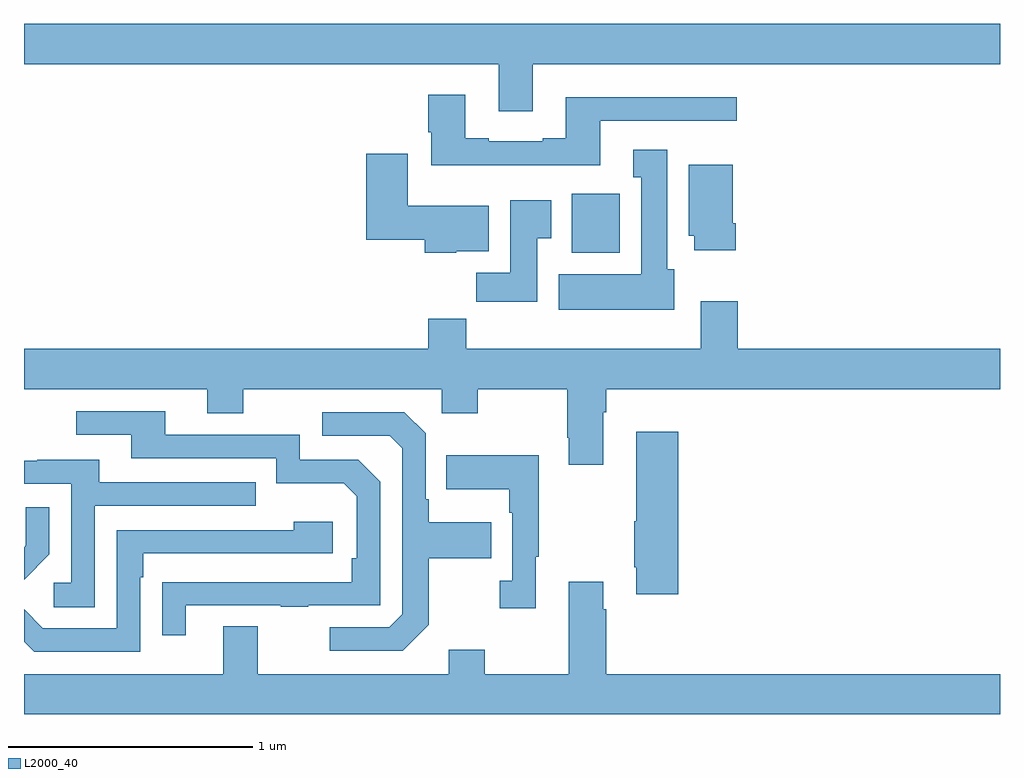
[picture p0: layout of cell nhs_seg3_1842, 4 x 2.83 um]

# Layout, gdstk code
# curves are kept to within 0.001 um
import gdstk
lib = gdstk.Library(unit=1e-6, precision=1e-09)
def R(c, l, rs):  # rectangles x0, y0, x1, y1
    for r in rs: c.add(gdstk.rectangle(r[:2], r[2:], *l))
def P(c, l, *ps):  # polygons
    for p in ps: c.add(gdstk.Polygon(p, *l))
L2000_40 = (2000, 40)

nhs_seg3_1842 = lib.new_cell('nhs_seg3_1842')
R(nhs_seg3_1842, L2000_40, [(207.245,745.43,207.442,745.672)])
P(nhs_seg3_1842, L2000_40, [(207.085,746.204),(209,746.204),(209,746.368),(205,746.368),(205,746.204),(206.945,746.204),(206.945,746.01),(207.085,746.01)],
  [(207.361,745.971),(207.922,745.971),(207.922,746.068),(207.221,746.068),(207.221,745.9),(207.125,745.9),(207.125,745.887),(206.905,745.887),(206.905,745.9),(206.809,745.9),(206.809,746.077),(206.657,746.077),(206.657,745.924),(206.669,745.924),(206.669,745.79),(207.361,745.79)],
  [(207.664,745.362),(207.637,745.362),(207.637,745.852),(207.497,745.852),(207.497,745.739),(207.53,745.739),(207.53,745.342),(207.191,745.342),(207.191,745.196),(207.664,745.196)],
  [(206.772,745.436),(206.905,745.436),(206.905,745.624),(206.572,745.624),(206.572,745.837),(206.402,745.837),(206.402,745.484),(206.642,745.484),(206.642,745.43),(206.772,745.43)],
  [(207.917,745.552),(207.904,745.552),(207.904,745.792),(207.725,745.792),(207.725,745.5),(207.746,745.5),(207.746,745.44),(207.917,745.44)],
  [(207.103,745.489),(207.16,745.489),(207.16,745.645),(206.993,745.645),(206.993,745.348),(206.854,745.348),(206.854,745.23),(207.103,745.23)],
  [(207.373,744.776),(207.386,744.776),(207.386,744.872),(209,744.872),(209,745.036),(207.926,745.036),(207.926,745.231),(207.773,745.231),(207.773,745.036),(206.813,745.036),(206.813,745.16),(206.657,745.16),(206.657,745.036),(205,745.036),(205,744.872),(205.751,744.872),(205.751,744.773),(205.899,744.773),(205.899,744.872),(206.712,744.872),(206.712,744.773),(206.859,744.773),(206.859,744.872),(207.226,744.872),(207.226,744.673),(207.233,744.673),(207.233,744.561),(207.373,744.561)],
  [(205.663,743.985),(206.053,743.985),(206.053,743.98),(206.165,743.98),(206.165,743.985),(206.46,743.985),(206.46,744.492),(206.37,744.582),(206.13,744.582),(206.13,744.684),(205.579,744.684),(205.579,744.78),(205.215,744.78),(205.215,744.684),(205.439,744.684),(205.439,744.588),(206.034,744.588),(206.034,744.485),(206.311,744.485),(206.364,744.432),(206.364,744.178),(206.344,744.178),(206.344,744.081),(205.567,744.08),(205.567,743.862),(205.663,743.862)],
  [(206.659,743.905),(206.659,744.178),(206.915,744.178),(206.915,744.325),(206.659,744.325),(206.659,744.421),(206.646,744.421),(206.646,744.69),(206.559,744.777),(206.223,744.777),(206.223,744.681),(206.499,744.681),(206.55,744.63),(206.55,743.949),(206.496,743.895),(206.253,743.895),(206.253,743.799),(206.553,743.799)],
  [(207.682,744.697),(207.509,744.697),(207.509,744.331),(207.502,744.331),(207.502,744.142),(207.509,744.142),(207.509,744.03),(207.682,744.03)],
  [(207.097,744.185),(207.109,744.185),(207.109,744.601),(206.731,744.601),(206.731,744.461),(206.988,744.461),(206.988,744.365),(207,744.365),(207,744.086),(206.949,744.086),(206.949,743.973),(207.097,743.973)],
  [(205.29,744.393),(205.949,744.393),(205.949,744.489),(205.309,744.489),(205.309,744.583),(205.055,744.583),(205.055,744.579),(205,744.579),(205,744.483),(205.194,744.483),(205.194,744.078),(205.122,744.078),(205.122,743.977),(205.29,743.977)],
  [(205.104,744.194),(205.104,744.388),(205.007,744.388),(205.007,744.231),(205,744.224),(205,744.09)],
  [(205.476,744.101),(205.489,744.101),(205.489,744.198),(206.266,744.198),(206.266,744.328),(206.105,744.328),(206.105,744.294),(205.38,744.294),(205.38,743.892),(205.077,743.892),(205,743.969),(205,743.837),(205.041,743.796),(205.476,743.796)],
  [(209,743.704),(207.386,743.704),(207.386,743.969),(207.373,743.969),(207.373,744.082),(207.233,744.082),(207.233,743.704),(206.889,743.704),(206.889,743.803),(206.741,743.803),(206.741,743.704),(205.957,743.704),(205.957,743.899),(205.817,743.899),(205.817,743.704),(205,743.704),(205,743.54),(209,743.54)])

lib.write_gds('nhs_seg3_1842.gds')
